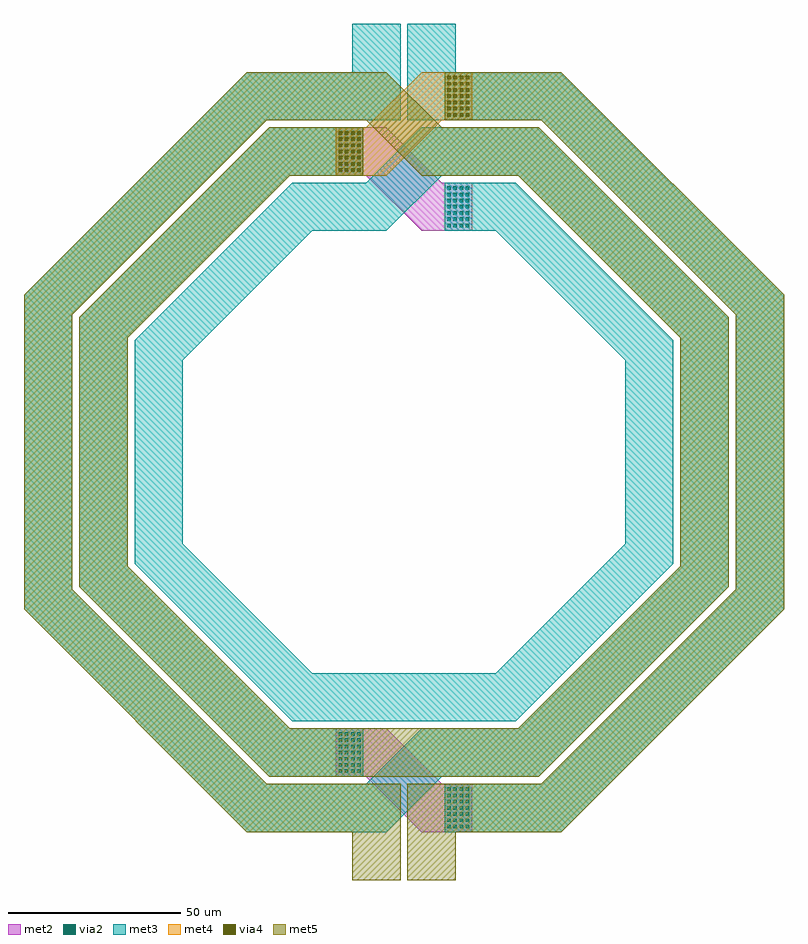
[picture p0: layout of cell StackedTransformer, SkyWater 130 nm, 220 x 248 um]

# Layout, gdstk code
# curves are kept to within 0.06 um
import gdstk
lib = gdstk.Library(unit=1e-6, precision=1e-09)
def R(c, l, rs):  # rectangles x0, y0, x1, y1
    for r in rs: c.add(gdstk.rectangle(r[:2], r[2:], *l))
def A(c, l, x, y, w, h, nx, ny, dx, dy):  # array of equal rectangles
    R(c, l, [(x+i*dx, y+j*dy, x+i*dx+w, y+j*dy+h) for i in range(nx) for j in range(ny)])
def P(c, l, *ps):  # polygons
    for p in ps: c.add(gdstk.Polygon(p, *l))
met2 = (69, 20)
via2 = (69, 44)
met3 = (70, 20)
met4 = (71, 20)
via4 = (71, 44)
met5 = (72, 20)

stackedtransformer = lib.new_cell('StackedTransformer')
P(stackedtransformer, met2, [(-19.729,-94),(-11.729,-94),(-10.9,-94),(5.101,-110.001),(11.729,-110.001),(19.729,-110.001),(19.729,-96),(11.729,-96),(10.9,-96),(-5.101,-79.999),(-11.729,-79.999),(-19.729,-79.999)],
  [(-19.729,80),(-11.729,80),(-10.9,80),(5.101,63.999),(11.729,63.999),(19.729,63.999),(19.729,78),(11.729,78),(10.9,78),(-5.101,94.001),(-11.729,94.001),(-19.729,94.001)])
A(stackedtransformer, via2, 12.527, -108.901, 1.002, 1.002, 4, 7, 1.8, 1.8)
A(stackedtransformer, via2, -18.929, -92.901, 1.002, 1.002, 4, 7, 1.8, 1.8)
A(stackedtransformer, via2, 12.527, 65.099, 1.002, 1.002, 4, 7, 1.8, 1.8)
A(stackedtransformer, via2, -18.929, 81.099, 1.002, 1.002, 4, 7, 1.8, 1.8)
P(stackedtransformer, met3, [(-110.001,-45.564),(-45.563,-110.001),(-5.101,-110.001),(10.9,-94),(38.936,-94.001),(94.001,-38.937),(94.001,38.937),(38.936,94.001),(5.101,94.001),(-10.9,78),(-32.309,78.001),(-78.001,32.309),(-78.001,-32.309),(-32.309,-78.001),(32.309,-78.001),(78.001,-32.309),(78.001,32.309),(32.309,78.001),(11.728,78.001),(11.728,64.001),(26.51,64.001),(64.001,26.51),(64.001,-26.51),(26.51,-64.001),(-26.51,-64.001),(-64.001,-26.51),(-64.001,26.51),(-26.51,64.001),(-5.101,63.999),(10.9,80),(33.137,80.001),(80.001,33.138),(80.001,-33.138),(33.137,-80.001),(5.101,-79.999),(-10.9,-96),(-39.764,-96.001),(-96.001,-39.765),(-96.001,39.765),(-39.764,96.001),(-0.999,95.999),(-0.999,124.001),(-15,124.001),(-15.001,110.001),(-45.563,110.001),(-110.001,45.564)],
  [(-94.001,-38.937),(-38.936,-94.001),(-11.728,-94.001),(-11.728,-80.001),(-33.137,-80.001),(-80.001,-33.138),(-80.001,33.138),(-33.137,80.001),(-11.728,80.001),(-11.728,94.001),(-38.936,94.001),(-94.001,38.937)],
  [(0.999,95.999),(39.764,96.001),(96.001,39.765),(96.001,-39.765),(39.764,-96.001),(11.728,-96.001),(11.728,-110.001),(45.563,-110.001),(110.001,-45.564),(110.001,45.564),(45.563,110.001),(15.001,110.001),(15,124.001),(0.999,124.001)])
P(stackedtransformer, met4, [(-19.728,94),(-11.728,94),(-10.899,94),(5.101,110),(11.728,110),(19.728,110),(19.728,96),(11.728,96),(10.899,96),(-5.101,80),(-11.728,80),(-19.728,80)])
A(stackedtransformer, via4, -18.929, 81.099, 1.002, 1.002, 4, 7, 1.8, 1.8)
A(stackedtransformer, via4, 12.527, 97.099, 1.002, 1.002, 4, 7, 1.8, 1.8)
P(stackedtransformer, met5, [(-110.001,-45.564),(-45.563,-110.001),(-15.001,-110.001),(-15,-124.001),(-0.999,-124.001),(-0.999,-95.999),(-39.764,-96.001),(-96.001,-39.765),(-96.001,39.765),(-39.764,96.001),(-10.9,96),(5.101,79.999),(33.137,80.001),(80.001,33.138),(80.001,-33.138),(33.137,-80.001),(-33.137,-80.001),(-80.001,-33.138),(-80.001,33.138),(-33.137,80.001),(-11.728,80.001),(-11.728,94.001),(-38.936,94.001),(-94.001,38.937),(-94.001,-38.937),(-38.936,-94.001),(38.936,-94.001),(94.001,-38.937),(94.001,38.937),(38.936,94.001),(10.9,94),(-5.101,110.001),(-45.563,110.001),(-110.001,45.564)],
  [(0.999,-124.001),(15,-124.001),(15.001,-110.001),(45.563,-110.001),(110.001,-45.564),(110.001,45.564),(45.563,110.001),(11.728,110.001),(11.728,96.001),(39.764,96.001),(96.001,39.765),(96.001,-39.765),(39.764,-96.001),(0.999,-95.999)])

lib.write_gds('StackedTransformer.gds')
